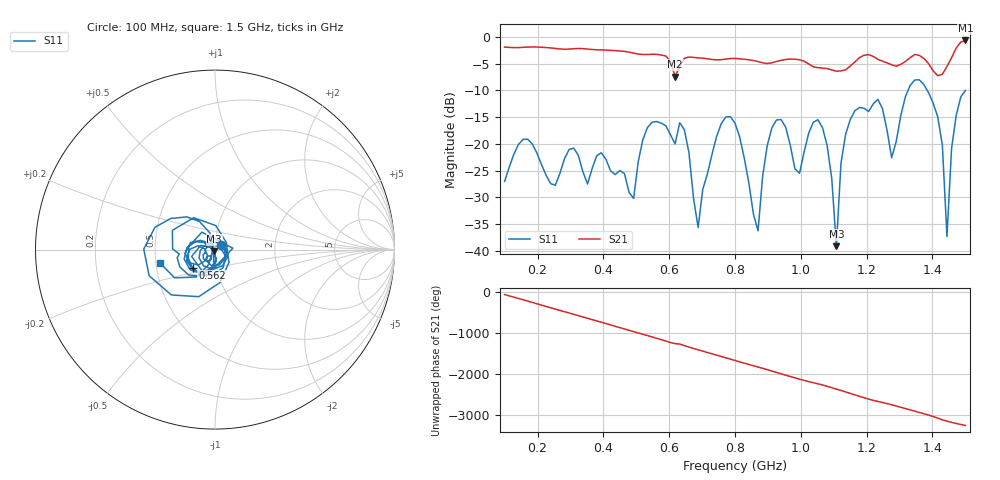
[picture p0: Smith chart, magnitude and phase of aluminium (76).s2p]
! NanoVNA-App
! Date: 2025-09-25 14:55:52
! Start: 100MHz Stop: 1,5GHz Points: 101
! S-Parameter data: F S11 S21 S12 S22
# Hz S RI R 50
!  Frequency  S11_Real  S11_Imag  S21_Real  S21_Imag  S12_Real  S12_Imag  S22_Real  S22_Imag
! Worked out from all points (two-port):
!   101 points, 100 MHz to 1.5 GHz, reference 50 ohm
!   highest |S21| = -0.69 dB at 1.5 GHz (marker M1); lowest = -7.4 dB at 618 MHz (marker M2)
!   |S21| within 3 dB of the highest: start of sweep to 591.1 MHz; 1.185 GHz to 1.221 GHz (35.89 MHz wide, 2.98 % of centre) (the widest 2 of 4)
!   lowest |S11| = -39.1 dB at 1.108 GHz (marker M3), VSWR 1.02, Z = 49.6 - j1.03 ohm
!   |S11| at or under -10 dB: start of sweep to 1.326 GHz; 1.384 GHz to end of sweep
!   S12 and S22 are empty: the file has one direction only
!   S11 on the Smith chart (normalised r, x): 100 MHz: 1.07, +0.06; 562 MHz: 0.76, -0.16; 1.5 GHz: 0.53, -0.09
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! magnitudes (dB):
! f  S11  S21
! 100 MHz  -27.0  -1.9
! 338 MHz  -25.2  -2.2
! 492 MHz  -30.2  -3.1
! 562 MHz  -15.8  -3.3
! 576 MHz  -16.1  -3.4
! 618 MHz  -20.0  -7.4
! 688 MHz  -35.6  -3.9
! 800 MHz  -16.1  -4.0
! 870 MHz  -36.2  -4.6
! 912 MHz  -17.0  -4.9
! 996 MHz  -25.5  -4.3
! 1.038 GHz  -16.0  -5.6
! 1.08 GHz  -20.3  -5.9
! 1.108 GHz  -39.1  -6.4
! 1.122 GHz  -23.6  -6.4
! 1.164 GHz  -13.8  -4.7
! 1.276 GHz  -22.6  -5.2
! 1.374 GHz  -8.9  -4.1
! 1.43 GHz  -20.2  -7.0
! 1.444 GHz  -37.3  -5.6
! 1.458 GHz  -20.9  -3.9
! 1.5 GHz  -10.0  -0.7
